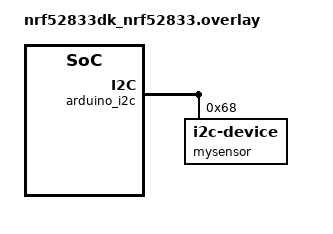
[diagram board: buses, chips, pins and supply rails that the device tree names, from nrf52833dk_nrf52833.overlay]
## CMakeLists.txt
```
cmake_minimum_required(VERSION 3.20.0)
find_package(Zephyr REQUIRED HINTS $ENV{ZEPHYR_BASE})

project(lesson6_i2c_dfrobotbmi160)

target_sources(app PRIVATE src/main.c)
```

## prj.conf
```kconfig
# I2C used for the sensor
CONFIG_I2C=y

# Set up for a sensor
CONFIG_SENSOR=y

# Serial used to print the data out
CONFIG_SERIAL=y

# GPIO used for interrupts
CONFIG_GPIO=y

# Enable logging module
CONFIG_LOG=y

CONFIG_CBPRINTF_FP_SUPPORT=y
```

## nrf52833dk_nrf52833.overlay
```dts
// To get started, press Ctrl+Space to bring up the completion menu and view the available nodes.

// You can also use the buttons in the sidebar to perform actions on nodes.
// Actions currently available include:

// * Enabling / disabling the node
// * Adding the bus to a bus
// * Removing the node
// * Connecting ADC channels

// For more help, browse the DeviceTree documentation at https://docs.zephyrproject.org/latest/guides/dts/index.html
// You can also visit the nRF DeviceTree extension documentation at https://nrfconnect.github.io/vscode-nrf-connect/devicetree/nrfdevicetree.html
&arduino_i2c {

    mysensor: mysensor@68
    {
        compatible = "i2c-device";
        status = "okay";
        reg = <0x68>;
    };
    
    // bmi160@68 {
    //     compatible = "bosch,bmi160";
    //     reg = <0x68 >;
    // };
};
```

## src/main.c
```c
#include <zephyr/kernel.h>
#include <zephyr/drivers/i2c.h>
#include <zephyr/sys/printk.h>
#include <zephyr/logging/log.h>

#define I2C0_NODE DT_NODELABEL(mysensor)

#define BMI160_CHIPID_REG     (0x00) // 1 byte
#define BMI160_ERR_REG        (0x02) // 1 byte
#define BMI160_PMUSTATUS_REG  (0x03) // 1 byte
#define BMI160_DATA_REG       (0x04) // 20 bytes
#define BMI160_SENSORTIME_REG (0x18) // 3 bytes

#define BMI160_INTEN_REG      (0x50) // 3 bytes

#define BMI160_DATA_LEN       (20)
#define BMI160_SENSORTIME_LEN (3) // 3 bytes


LOG_MODULE_REGISTER(Lesson6_I2C,LOG_LEVEL_DBG);

int main(void)
{
   int ret;

   // Setup
   const struct i2c_dt_spec sensor_i2c = I2C_DT_SPEC_GET(I2C0_NODE);
   if(!device_is_ready(sensor_i2c.bus))
   {
      LOG_ERR("I2C bus %s is not ready!\r\n", sensor_i2c.bus->name);
      return -1;
   }

   uint8_t int_en[4] = 
   {
      BMI160_INTEN_REG,
      0x07, 0x70, 0x00
   };

   ret = i2c_write_dt(&sensor_i2c, int_en, sizeof(int_en));
   if(0 != ret)
   {
      LOG_ERR("FAILED to write to I2C(0x%02x) at REG:0x%02x\r\n", sensor_i2c.addr, int_en[0]);
      return -1;
   }

   uint8_t imu_data[20] = {0};
   uint8_t sensor_rd_regs[] = {BMI160_DATA_REG, BMI160_SENSORTIME_REG};
   bool lp = false;

   // Loop - Read IMU data and print out
   while(true)
   {
      if(lp)
      {
         ret = i2c_write_read_dt(&sensor_i2c, &sensor_rd_regs[1], 1, imu_data, BMI160_SENSORTIME_LEN);
         if(ret)
         {
            LOG_ERR("FAILED write/read to I2C(0x%02x) at REG:0x%02x\r\n", sensor_i2c.addr, sensor_rd_regs[1]);
            continue;
         }

         printk("\r\nSENSORTIME: %02x%02x%02x", imu_data[0],imu_data[1], imu_data[2]);
      }
      else
      {

         ret = i2c_write_read_dt(&sensor_i2c, &sensor_rd_regs[0], 1, imu_data, BMI160_DATA_LEN);
         if(ret)
         {
            LOG_ERR("FAILED write/read to I2C(0x%02x) at REG:0x%02x\r\n", sensor_i2c.addr, sensor_rd_regs[0]);
            continue;
         }
         LOG_HEXDUMP_INF(imu_data, sizeof(imu_data),"IMU Data"); 
      }
      k_sleep(K_MSEC(5));
      lp = !lp;
   };
   return 0;
}
```
